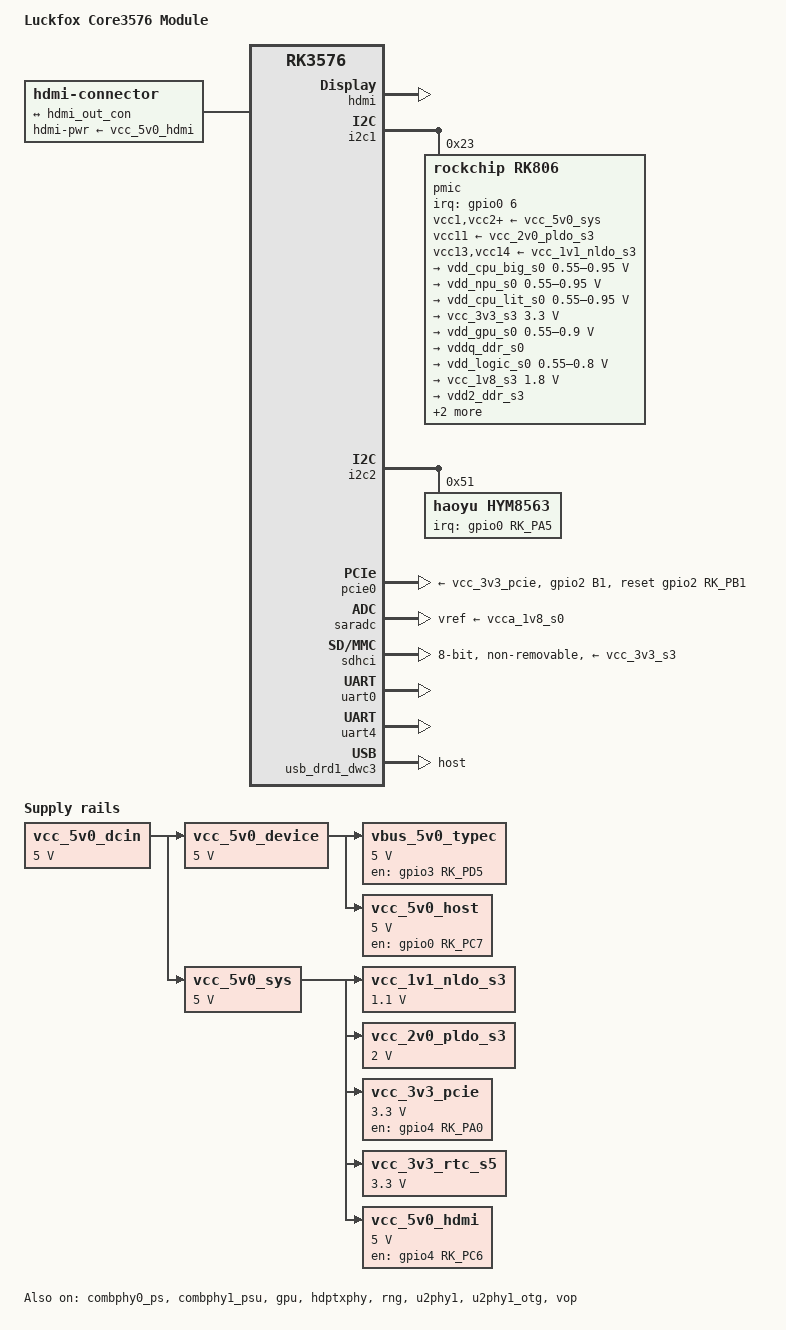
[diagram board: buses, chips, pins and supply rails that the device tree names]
// SPDX-License-Identifier: (GPL-2.0+ OR MIT)
/*
 * Copyright (c) 2024 Rockchip Electronics Co., Ltd.
 * Copyright (c) 2025 John Clark <inindev@gmail.com>
 */

/dts-v1/;

#include <dt-bindings/gpio/gpio.h>
#include <dt-bindings/leds/common.h>
#include <dt-bindings/pinctrl/rockchip.h>
#include <dt-bindings/soc/rockchip,vop2.h>
#include "rk3576.dtsi"

/ {
	model = "Luckfox Core3576 Module";
	compatible = "luckfox,core3576","rockchip,rk3576";

	aliases {
		mmc0 = &sdhci;
	};

	chosen {
		stdout-path = "serial0:1500000n8";
	};

	hdmi-con {
		compatible = "hdmi-connector";
		hdmi-pwr-supply = <&vcc_5v0_hdmi>;
		type = "a";

		port {
			hdmi_con_in: endpoint {
				remote-endpoint = <&hdmi_out_con>;
			};
		};
	};

	vbus_5v0_typec: regulator-vbus-5v0-typec {
		compatible = "regulator-fixed";
		enable-active-high;
		gpios = <&gpio3 RK_PD5 GPIO_ACTIVE_HIGH>;
		pinctrl-names = "default";
		pinctrl-0 = <&usb_otg0_pwr_en>;
		regulator-min-microvolt = <5000000>;
		regulator-max-microvolt = <5000000>;
		regulator-name = "vbus5v0_typec";
		vin-supply = <&vcc_5v0_device>;

		regulator-state-mem {
			regulator-off-in-suspend;
		};
	};

	vcc_1v1_nldo_s3: regulator-vcc-1v1-nldo-s3 {
		compatible = "regulator-fixed";
		regulator-always-on;
		regulator-boot-on;
		regulator-min-microvolt = <1100000>;
		regulator-max-microvolt = <1100000>;
		regulator-name = "vcc_1v1_nldo_s3";
		vin-supply = <&vcc_5v0_sys>;

		regulator-state-mem {
			regulator-on-in-suspend;
		};
	};

	vcc_2v0_pldo_s3: regulator-vcc-2v0-pldo-s3 {
		compatible = "regulator-fixed";
		regulator-always-on;
		regulator-boot-on;
		regulator-min-microvolt = <2000000>;
		regulator-max-microvolt = <2000000>;
		regulator-name = "vcc_2v0_pldo_s3";
		vin-supply = <&vcc_5v0_sys>;

		regulator-state-mem {
			regulator-on-in-suspend;
		};
	};

	vcc_3v3_pcie: regulator-vcc-3v3-pcie {
		compatible = "regulator-fixed";
		enable-active-high;
		gpios = <&gpio4 RK_PA0 GPIO_ACTIVE_HIGH>;
		pinctrl-names = "default";
		pinctrl-0 = <&pcie_pwr_en>;
		regulator-min-microvolt = <3300000>;
		regulator-max-microvolt = <3300000>;
		regulator-name = "vcc_3v3_pcie";
		startup-delay-us = <1000>;
		vin-supply = <&vcc_5v0_sys>;

		regulator-state-mem {
			regulator-off-in-suspend;
		};
	};

	vcc_3v3_rtc_s5: regulator-vcc-3v3-rtc-s5 {
		compatible = "regulator-fixed";
		regulator-always-on;
		regulator-boot-on;
		regulator-min-microvolt = <3300000>;
		regulator-max-microvolt = <3300000>;
		regulator-name = "vcc_3v3_rtc_s5";
		vin-supply = <&vcc_5v0_sys>;

		regulator-state-mem {
			regulator-on-in-suspend;
		};
	};

	vcc_5v0_dcin: regulator-vcc-5v0-dcin {
		compatible = "regulator-fixed";
		regulator-always-on;
		regulator-boot-on;
		regulator-min-microvolt = <5000000>;
		regulator-max-microvolt = <5000000>;
		regulator-name = "vcc_5v0_dcin";

		regulator-state-mem {
			regulator-on-in-suspend;
		};
	};

	vcc_5v0_device: regulator-vcc-5v0-device {
		compatible = "regulator-fixed";
		regulator-always-on;
		regulator-boot-on;
		regulator-min-microvolt = <5000000>;
		regulator-max-microvolt = <5000000>;
		regulator-name = "vcc_5v0_device";
		vin-supply = <&vcc_5v0_dcin>;

		regulator-state-mem {
			regulator-off-in-suspend;
		};
	};

	vcc_5v0_hdmi: regulator-vcc-5v0-hdmi {
		compatible = "regulator-fixed";
		enable-active-high;
		gpios = <&gpio4 RK_PC6 GPIO_ACTIVE_HIGH>;
		pinctrl-names = "default";
		pinctrl-0 = <&hdmi_con_en>;
		regulator-min-microvolt = <5000000>;
		regulator-max-microvolt = <5000000>;
		regulator-name = "vcc_5v0_hdmi";
		vin-supply = <&vcc_5v0_sys>;

		regulator-state-mem {
			regulator-off-in-suspend;
		};
	};

	vcc_5v0_host: regulator-vcc-5v0-host {
		compatible = "regulator-fixed";
		enable-active-high;
		gpios = <&gpio0 RK_PC7 GPIO_ACTIVE_HIGH>;
		pinctrl-names = "default";
		pinctrl-0 = <&usb_host_pwr_en>;
		regulator-min-microvolt = <5000000>;
		regulator-max-microvolt = <5000000>;
		regulator-name = "vcc_5v0_host";
		vin-supply = <&vcc_5v0_device>;

		regulator-state-mem {
			regulator-off-in-suspend;
		};
	};

	vcc_5v0_sys: regulator-vcc-5v0-sys {
		compatible = "regulator-fixed";
		regulator-always-on;
		regulator-boot-on;
		regulator-min-microvolt = <5000000>;
		regulator-max-microvolt = <5000000>;
		regulator-name = "vcc_5v0_sys";
		vin-supply = <&vcc_5v0_dcin>;

		regulator-state-mem {
			regulator-on-in-suspend;
		};
	};
};

&combphy0_ps {
	status = "okay";
};

&combphy1_psu {
	status = "okay";
};

&cpu_b0 {
	cpu-supply = <&vdd_cpu_big_s0>;
};

&cpu_b1 {
	cpu-supply = <&vdd_cpu_big_s0>;
};

&cpu_b2 {
	cpu-supply = <&vdd_cpu_big_s0>;
};

&cpu_b3 {
	cpu-supply = <&vdd_cpu_big_s0>;
};

&cpu_l0 {
	cpu-supply = <&vdd_cpu_lit_s0>;
};

&cpu_l1 {
	cpu-supply = <&vdd_cpu_lit_s0>;
};

&cpu_l2 {
	cpu-supply = <&vdd_cpu_lit_s0>;
};

&cpu_l3 {
	cpu-supply = <&vdd_cpu_lit_s0>;
};

&gpu {
	mali-supply = <&vdd_gpu_s0>;
	status = "okay";
};

&hdmi {
	status = "okay";
};

&hdmi_in {
	hdmi_in_vp0: endpoint {
		remote-endpoint = <&vp0_out_hdmi>;
	};
};

&hdmi_out {
	hdmi_out_con: endpoint {
		remote-endpoint = <&hdmi_con_in>;
	};
};

&hdptxphy {
	status = "okay";
};

&i2c1 {
	status = "okay";

	pmic@23 {
		compatible = "rockchip,rk806";
		reg = <0x23>;
		#gpio-cells = <2>;
		gpio-controller;
		interrupt-parent = <&gpio0>;
		interrupts = <6 IRQ_TYPE_LEVEL_LOW>;
		pinctrl-names = "default";
		pinctrl-0 = <&pmic_pins>, <&rk806_dvs1_null>,
			    <&rk806_dvs2_null>, <&rk806_dvs3_null>;
		system-power-controller;

		vcc1-supply = <&vcc_5v0_sys>;
		vcc2-supply = <&vcc_5v0_sys>;
		vcc3-supply = <&vcc_5v0_sys>;
		vcc4-supply = <&vcc_5v0_sys>;
		vcc5-supply = <&vcc_5v0_sys>;
		vcc6-supply = <&vcc_5v0_sys>;
		vcc7-supply = <&vcc_5v0_sys>;
		vcc8-supply = <&vcc_5v0_sys>;
		vcc9-supply = <&vcc_5v0_sys>;
		vcc10-supply = <&vcc_5v0_sys>;
		vcc11-supply = <&vcc_2v0_pldo_s3>;
		vcc12-supply = <&vcc_5v0_sys>;
		vcc13-supply = <&vcc_1v1_nldo_s3>;
		vcc14-supply = <&vcc_1v1_nldo_s3>;
		vcca-supply = <&vcc_5v0_sys>;

		rk806_dvs1_null: dvs1-null-pins {
			pins = "gpio_pwrctrl2";
			function = "pin_fun0";
		};

		rk806_dvs2_null: dvs2-null-pins {
			pins = "gpio_pwrctrl2";
			function = "pin_fun0";
		};

		rk806_dvs3_null: dvs3-null-pins {
			pins = "gpio_pwrctrl3";
			function = "pin_fun0";
		};

		rk806_dvs1_slp: dvs1-slp-pins {
			pins = "gpio_pwrctrl1";
			function = "pin_fun1";
		};

		rk806_dvs1_pwrdn: dvs1-pwrdn-pins {
			pins = "gpio_pwrctrl1";
			function = "pin_fun2";
		};

		rk806_dvs1_rst: dvs1-rst-pins {
			pins = "gpio_pwrctrl1";
			function = "pin_fun3";
		};

		rk806_dvs2_slp: dvs2-slp-pins {
			pins = "gpio_pwrctrl2";
			function = "pin_fun1";
		};

		rk806_dvs2_pwrdn: dvs2-pwrdn-pins {
			pins = "gpio_pwrctrl2";
			function = "pin_fun2";
		};

		rk806_dvs2_rst: dvs2-rst-pins {
			pins = "gpio_pwrctrl2";
			function = "pin_fun3";
		};

		rk806_dvs2_dvs: dvs2-dvs-pins {
			pins = "gpio_pwrctrl2";
			function = "pin_fun4";
		};

		rk806_dvs2_gpio: dvs2-gpio-pins {
			pins = "gpio_pwrctrl2";
			function = "pin_fun5";
		};


		rk806_dvs3_slp: dvs3-slp-pins {
			pins = "gpio_pwrctrl3";
			function = "pin_fun1";
		};

		rk806_dvs3_pwrdn: dvs3-pwrdn-pins {
			pins = "gpio_pwrctrl3";
			function = "pin_fun2";
		};

		rk806_dvs3_rst: dvs3-rst-pins {
			pins = "gpio_pwrctrl3";
			function = "pin_fun3";
		};

		rk806_dvs3_dvs: dvs3-dvs-pins {
			pins = "gpio_pwrctrl3";
			function = "pin_fun4";
		};

		rk806_dvs3_gpio: dvs3-gpio-pins {
			pins = "gpio_pwrctrl3";
			function = "pin_fun5";
		};

		regulators {
			vdd_cpu_big_s0: dcdc-reg1 {
				regulator-always-on;
				regulator-boot-on;
				regulator-min-microvolt = <550000>;
				regulator-max-microvolt = <950000>;
				regulator-ramp-delay = <12500>;
				regulator-name = "vdd_cpu_big_s0";
				regulator-enable-ramp-delay = <400>;

				regulator-state-mem {
					regulator-off-in-suspend;
				};
			};

			vdd_npu_s0: dcdc-reg2 {
				regulator-boot-on;
				regulator-min-microvolt = <550000>;
				regulator-max-microvolt = <950000>;
				regulator-ramp-delay = <12500>;
				regulator-name = "vdd_npu_s0";
				regulator-enable-ramp-delay = <400>;

				regulator-state-mem {
					regulator-off-in-suspend;
				};
			};

			vdd_cpu_lit_s0: dcdc-reg3 {
				regulator-always-on;
				regulator-boot-on;
				regulator-min-microvolt = <550000>;
				regulator-max-microvolt = <950000>;
				regulator-ramp-delay = <12500>;
				regulator-name = "vdd_cpu_lit_s0";

				regulator-state-mem {
					regulator-off-in-suspend;
					regulator-suspend-microvolt = <750000>;
				};
			};

			vcc_3v3_s3: dcdc-reg4 {
				regulator-always-on;
				regulator-boot-on;
				regulator-min-microvolt = <3300000>;
				regulator-max-microvolt = <3300000>;
				regulator-name = "vcc_3v3_s3";

				regulator-state-mem {
					regulator-on-in-suspend;
					regulator-suspend-microvolt = <3300000>;
				};
			};

			vdd_gpu_s0: dcdc-reg5 {
				regulator-boot-on;
				regulator-min-microvolt = <550000>;
				regulator-max-microvolt = <900000>;
				regulator-ramp-delay = <12500>;
				regulator-name = "vdd_gpu_s0";
				regulator-enable-ramp-delay = <400>;

				regulator-state-mem {
					regulator-off-in-suspend;
					regulator-suspend-microvolt = <850000>;
				};
			};

			vddq_ddr_s0: dcdc-reg6 {
				regulator-always-on;
				regulator-boot-on;
				regulator-name = "vddq_ddr_s0";

				regulator-state-mem {
					regulator-off-in-suspend;
				};
			};

			vdd_logic_s0: dcdc-reg7 {
				regulator-always-on;
				regulator-boot-on;
				regulator-min-microvolt = <550000>;
				regulator-max-microvolt = <800000>;
				regulator-name = "vdd_logic_s0";

				regulator-state-mem {
					regulator-off-in-suspend;
				};
			};

			vcc_1v8_s3: dcdc-reg8 {
				regulator-always-on;
				regulator-boot-on;
				regulator-min-microvolt = <1800000>;
				regulator-max-microvolt = <1800000>;
				regulator-name = "vcc_1v8_s3";

				regulator-state-mem {
					regulator-on-in-suspend;
					regulator-suspend-microvolt = <1800000>;
				};
			};

			vdd2_ddr_s3: dcdc-reg9 {
				regulator-always-on;
				regulator-boot-on;
				regulator-name = "vdd2_ddr_s3";

				regulator-state-mem {
					regulator-on-in-suspend;
				};
			};

			vdd_ddr_s0: dcdc-reg10 {
				regulator-always-on;
				regulator-boot-on;
				regulator-min-microvolt = <550000>;
				regulator-max-microvolt = <1200000>;
				regulator-name = "vdd_ddr_s0";

				regulator-state-mem {
					regulator-off-in-suspend;
				};
			};

			vcca_1v8_s0: pldo-reg1 {
				regulator-always-on;
				regulator-boot-on;
				regulator-min-microvolt = <1800000>;
				regulator-max-microvolt = <1800000>;
				regulator-name = "vcca_1v8_s0";

				regulator-state-mem {
					regulator-off-in-suspend;
				};
			};

			vcca1v8_pldo2_s0: pldo-reg2 {
				regulator-always-on;
				regulator-boot-on;
				regulator-min-microvolt = <1800000>;
				regulator-max-microvolt = <1800000>;
				regulator-name = "vcca1v8_pldo2_s0";

				regulator-state-mem {
					regulator-off-in-suspend;
				};
			};

			vdda_1v2_s0: pldo-reg3 {
				regulator-always-on;
				regulator-boot-on;
				regulator-min-microvolt = <1200000>;
				regulator-max-microvolt = <1200000>;
				regulator-name = "vdda_1v2_s0";

				regulator-state-mem {
					regulator-off-in-suspend;
				};
			};

			vcca_3v3_s0: pldo-reg4 {
				regulator-always-on;
				regulator-boot-on;
				regulator-min-microvolt = <3300000>;
				regulator-max-microvolt = <3300000>;
				regulator-name = "vcca_3v3_s0";

				regulator-state-mem {
					regulator-off-in-suspend;
				};
			};

			vccio_sd_s0: pldo-reg5 {
				regulator-always-on;
				regulator-boot-on;
				regulator-min-microvolt = <1800000>;
				regulator-max-microvolt = <3300000>;
				regulator-name = "vccio_sd_s0";

				regulator-state-mem {
					regulator-off-in-suspend;
				};
			};

			vcca1v8_pldo6_s3: pldo-reg6 {
				regulator-always-on;
				regulator-boot-on;
				regulator-min-microvolt = <1800000>;
				regulator-max-microvolt = <1800000>;
				regulator-name = "vcca1v8_pldo6_s3";

				regulator-state-mem {
					regulator-on-in-suspend;
					regulator-suspend-microvolt = <1800000>;
				};
			};

			vdd_0v75_s3: nldo-reg1 {
				regulator-always-on;
				regulator-boot-on;
				regulator-min-microvolt = <750000>;
				regulator-max-microvolt = <750000>;
				regulator-name = "vdd_0v75_s3";

				regulator-state-mem {
					regulator-on-in-suspend;
					regulator-suspend-microvolt = <750000>;
				};
			};

			vdda_ddr_pll_s0: nldo-reg2 {
				regulator-always-on;
				regulator-boot-on;
				regulator-min-microvolt = <850000>;
				regulator-max-microvolt = <850000>;
				regulator-name = "vdda_ddr_pll_s0";

				regulator-state-mem {
					regulator-off-in-suspend;
				};
			};

			vdda0v75_hdmi_s0: nldo-reg3 {
				regulator-always-on;
				regulator-boot-on;
				regulator-min-microvolt = <837500>;
				regulator-max-microvolt = <837500>;
				regulator-name = "vdda0v75_hdmi_s0";

				regulator-state-mem {
					regulator-off-in-suspend;
				};
			};

			vdda_0v85_s0: nldo-reg4 {
				regulator-always-on;
				regulator-boot-on;
				regulator-min-microvolt = <850000>;
				regulator-max-microvolt = <850000>;
				regulator-name = "vdda_0v85_s0";

				regulator-state-mem {
					regulator-off-in-suspend;
				};
			};

			vdda_0v75_s0: nldo-reg5 {
				regulator-always-on;
				regulator-boot-on;
				regulator-min-microvolt = <750000>;
				regulator-max-microvolt = <750000>;
				regulator-name = "vdda_0v75_s0";

				regulator-state-mem {
					regulator-off-in-suspend;
				};
			};
		};
	};
};

&i2c2 {
	status = "okay";

	hym8563: rtc@51 {
		compatible = "haoyu,hym8563";
		reg = <0x51>;
		#clock-cells = <0>;
		clock-output-names = "hym8563";
		interrupt-parent = <&gpio0>;
		interrupts = <RK_PA5 IRQ_TYPE_LEVEL_LOW>;
		pinctrl-names = "default";
		pinctrl-0 = <&hym8563_int>;
		wakeup-source;
	};
};

&pcie0 {
	pinctrl-names = "default";
	pinctrl-0 = <&pcie_reset>;
	reset-gpios = <&gpio2 RK_PB1 GPIO_ACTIVE_HIGH>;
	vpcie3v3-supply = <&vcc_3v3_pcie>;
	status = "okay";
};

&pinctrl {
	hdmi {
		hdmi_con_en: hdmi-con-en {
			rockchip,pins = <4 RK_PC6 RK_FUNC_GPIO &pcfg_pull_none>;
		};
	};

	hym8563 {
		hym8563_int: hym8563-int {
			rockchip,pins = <0 RK_PA5 RK_FUNC_GPIO &pcfg_pull_up>;
		};
	};

	pcie {
		pcie_pwr_en: pcie-pwr-en {
			rockchip,pins = <4 RK_PA0 RK_FUNC_GPIO &pcfg_pull_up>;
		};

		pcie_reset: pcie-reset {
			rockchip,pins = <2 RK_PB1 RK_FUNC_GPIO &pcfg_pull_up>;
		};
	};

	usb {
		usb_host_pwr_en: usb-host-pwr-en {
			rockchip,pins = <1 RK_PC7 RK_FUNC_GPIO &pcfg_pull_none>;
		};

		usb_otg0_pwr_en: usb-otg0-pwr-en {
			rockchip,pins = <3 RK_PD5 RK_FUNC_GPIO &pcfg_pull_none>;
		};

		usbc0_int: usbc0-int {
			rockchip,pins = <3 RK_PD4 RK_FUNC_GPIO &pcfg_pull_up>;
		};
	};
};

&rng {
	status = "okay";
};

&saradc {
	vref-supply = <&vcca_1v8_s0>;
	status = "okay";
};

&sdhci {
	bus-width = <8>;
	full-pwr-cycle-in-suspend;
	mmc-hs400-1_8v;
	mmc-hs400-enhanced-strobe;
	no-sd;
	no-sdio;
	non-removable;
	vmmc-supply = <&vcc_3v3_s3>;
	vqmmc-supply = <&vccio_sd_s0>;
	status = "okay";
};

&uart0 {
	status = "okay";
};

&uart4 {
	pinctrl-names = "default";
	pinctrl-0 = <&uart4m1_xfer &uart4m1_ctsn>;
	status = "okay";
};

&u2phy1 {
	status = "okay";
};

&u2phy1_otg {
	phy-supply = <&vcc_5v0_host>;
	status = "okay";
};

&usb_drd1_dwc3 {
	dr_mode = "host";
	status = "okay";
};

&vop {
	status = "okay";
};

&vop_mmu {
	status = "okay";
};

&vp0 {
	vp0_out_hdmi: endpoint@ROCKCHIP_VOP2_EP_HDMI0 {
		reg = <ROCKCHIP_VOP2_EP_HDMI0>;
		remote-endpoint = <&hdmi_in_vp0>;
	};
};
